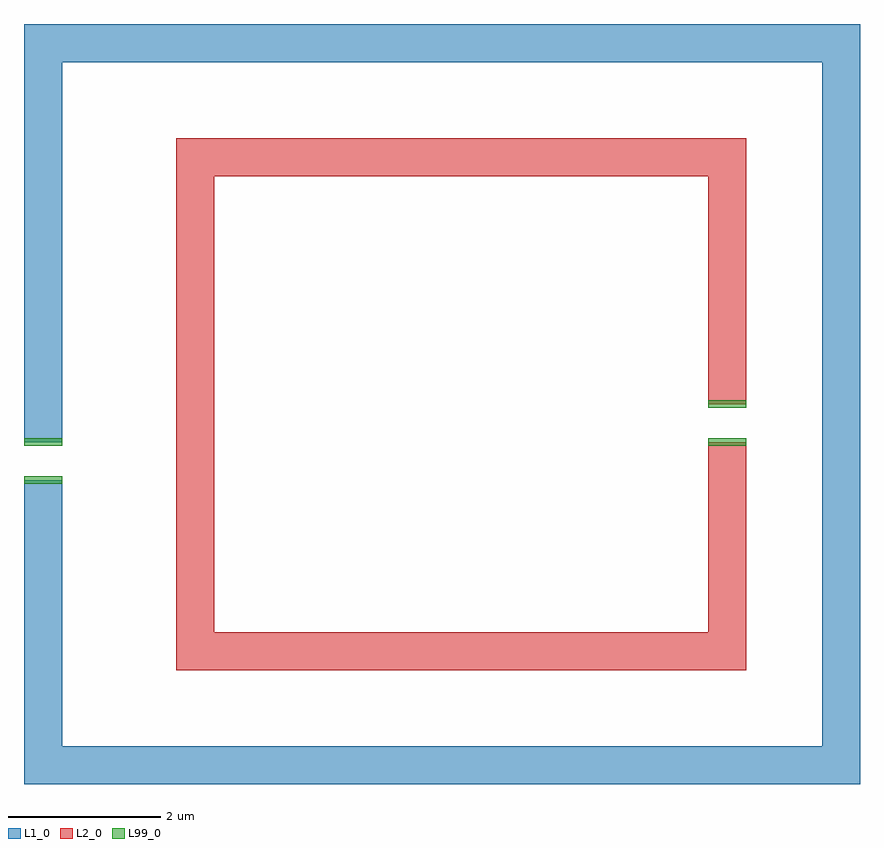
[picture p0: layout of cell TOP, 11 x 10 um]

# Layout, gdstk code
import gdstk
lib = gdstk.Library(unit=1e-6, precision=1e-09)
def P(c, l, *ps):  # polygons
    for p in ps: c.add(gdstk.Polygon(p, *l))
L1_0 = (1, 0)
L2_0 = (2, 0)
L99_0 = (99, 0)

top = lib.new_cell('TOP')
P(top, L1_0, [(-4,-3),(-4,1),(-3.5,1),(-3.5,-2.5),(6.5,-2.5),(6.5,6.5),(-3.5,6.5),(-3.5,1.5),(-4,1.5),(-4,7),(7,7),(7,-3)])
P(top, L2_0, [(-2,-1.5),(-2,5.5),(5.5,5.5),(5.5,2),(5,2),(5,5),(-1.5,5),(-1.5,-1),(5,-1),(5,1.5),(5.5,1.5),(5.5,-1.5)])
top.add(gdstk.FlexPath([(-4,1.5),(-3.5,1.5)], 0.1, ends="flush", simple_path=True, layer=99, datatype=0))  # L99_0
top.add(gdstk.FlexPath([(-4,1),(-3.5,1)], 0.1, ends="flush", simple_path=True, layer=99, datatype=0))  # L99_0
top.add(gdstk.FlexPath([(5,2),(5.5,2)], 0.1, ends="flush", simple_path=True, layer=99, datatype=0))  # L99_0
top.add(gdstk.FlexPath([(5,1.5),(5.5,1.5)], 0.1, ends="flush", simple_path=True, layer=99, datatype=0))  # L99_0

lib.write_gds('TOP.gds')
